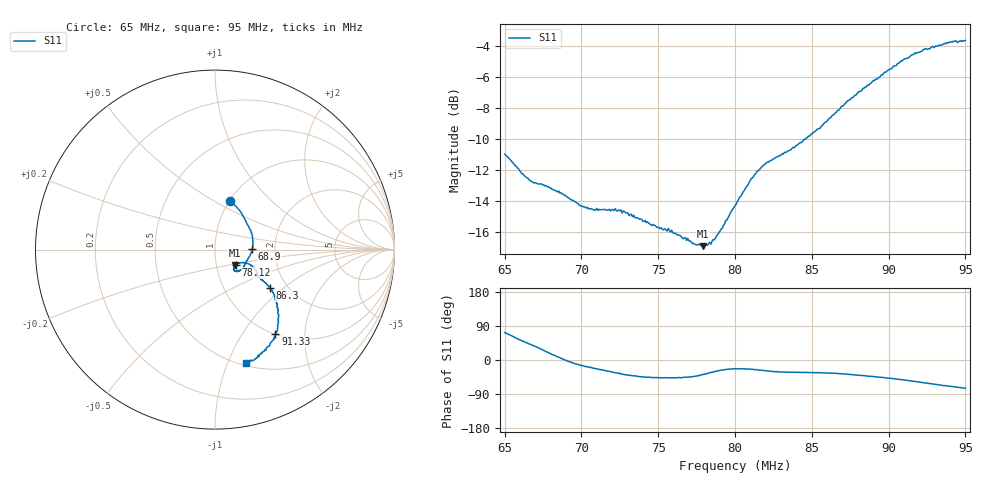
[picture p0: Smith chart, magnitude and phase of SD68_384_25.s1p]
! NanoVNA-App
! Date: 2025-08-02 15:44:36
! Start: 65MHz Stop: 95MHz Points: 401
! S-Parameter data: F S11
# Hz S RI R 50
!  Frequency  S11_Real  S11_Imag
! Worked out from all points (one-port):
!   401 points, 65 MHz to 95 MHz, reference 50 ohm
!   lowest |S11| = -16.9 dB at 77.9 MHz (marker M1), VSWR 1.33, Z = 61.5 - j11.1 ohm
!   |S11| at or under -10 dB: start of sweep to 84.62 MHz
!   S11 on the Smith chart (normalised r, x): 65 MHz: 1.01, +0.59; 68.9 MHz: 1.52, +0.01; 78.12 MHz: 1.24, -0.22; 86.3 MHz: 1.64, -0.81; 91.33 MHz: 1.01, -1.42; 95 MHz: 0.53, -1.17
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6.5e7  0.085 0.2684
6.5825e7  0.1416 0.2117
6.6575e7  0.1712 0.1591
6.74e7  0.199 0.1072
6.875e7  0.2093 0.012
6.89e7  0.2076 0.00222
6.965e7  0.1936 -0.0357
7.04e7  0.1805 -0.0588
7.25e7  0.1514 -0.1066
7.4e7  0.1224 -0.1195
7.625e7  0.1065 -0.112
7.7375e7  0.1051 -0.0989
7.79e7  0.1116 -0.0882
7.8125e7  0.1168 -0.0847
7.88e7  0.1343 -0.0747
8e7  0.177 -0.075
8.1125e7  0.2148 -0.098
8.1725e7  0.228 -0.1166
8.375e7  0.2501 -0.1589
8.54e7  0.2836 -0.1872
8.63e7  0.3076 -0.2129
8.75e7  0.3351 -0.2574
8.9675e7  0.3546 -0.372
9.125e7  0.3385 -0.4652
9.1325e7  0.3362 -0.4704
9.23e7  0.3048 -0.5318
9.365e7  0.2481 -0.5927
9.5e7  0.1742 -0.6327
